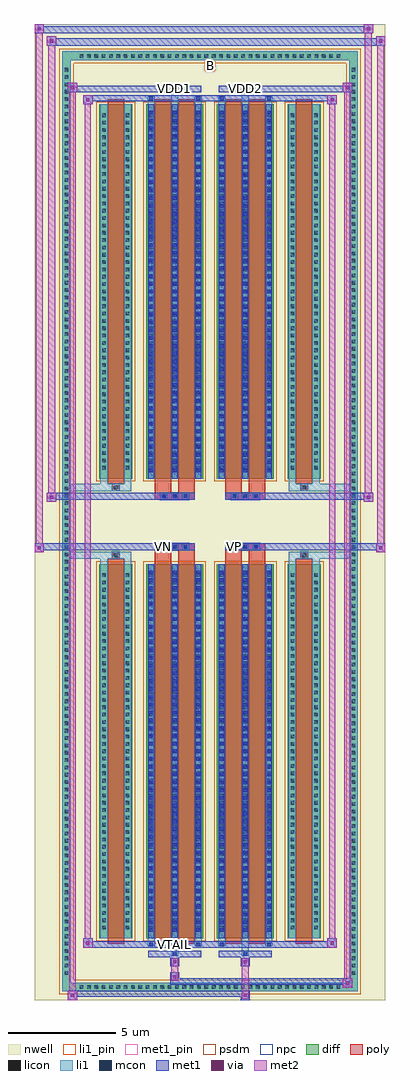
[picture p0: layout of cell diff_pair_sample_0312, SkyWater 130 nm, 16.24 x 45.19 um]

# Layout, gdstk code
import gdstk
lib = gdstk.Library(unit=1e-6, precision=5e-09)
def R(c, l, rs):  # rectangles x0, y0, x1, y1
    for r in rs: c.add(gdstk.rectangle(r[:2], r[2:], *l))
def A(c, l, x, y, w, h, nx, ny, dx, dy):  # array of equal rectangles
    R(c, l, [(x+i*dx, y+j*dy, x+i*dx+w, y+j*dy+h) for i in range(nx) for j in range(ny)])
def P(c, l, *ps):  # polygons
    for p in ps: c.add(gdstk.Polygon(p, *l))
nwell = (64, 20)
diff = (65, 20)
poly = (66, 20)
licon = (66, 44)
li1_pin = (67, 16)
li1 = (67, 20)
mcon = (67, 44)
met1_pin = (68, 16)
met1 = (68, 20)
via = (68, 44)
met2 = (69, 20)
psdm = (94, 20)
npc = (95, 20)

diff_pair_sample_0312 = lib.new_cell('diff_pair_sample_0312')
R(diff_pair_sample_0312, nwell, [(-8.12,-22.16,8.12,23.03), (-5.44,-20.35,-0.01,-0.805), (0.01,-20.35,5.44,-0.805), (-5.44,0.805,-0.01,20.35), (0.01,0.805,5.44,20.35)])
A(diff_pair_sample_0312, diff, -6.155, -21.76, 0.41, 0.41, 36, 2, 0.34, 43.11)
A(diff_pair_sample_0312, diff, -6.85, -21.115, 0.41, 0.41, 1, 124, 0, 0.34)
A(diff_pair_sample_0312, diff, 6.44, -21.115, 0.41, 0.41, 1, 124, 0, 0.34)
R(diff_pair_sample_0312, diff, [(-6.155,-21.76,6.155,-21.35), (-6.85,-21.115,-6.44,21.115), (6.44,-21.115,6.85,21.115), (-5.13,-19.305,-3.59,-1.985), (-2.95,-19.305,-0.32,-1.985), (0.32,-19.305,2.95,-1.985), (3.59,-19.305,5.13,-1.985), (-5.13,1.985,-3.59,19.305), (-2.95,1.985,-0.32,19.305), (0.32,1.985,2.95,19.305), (3.59,1.985,5.13,19.305), (-6.155,21.35,6.155,21.76)])
P(diff_pair_sample_0312, diff, [(6.85,21.76),(-6.85,21.76),(-6.85,-21.35),(-6.44,-21.35),(-6.44,21.35),(6.44,21.35),(6.44,-21.35),(-6.44,-21.35),(-6.85,-21.35),(-6.85,-21.76),(6.85,-21.76)])
A(diff_pair_sample_0312, poly, -2.3, -1.335, 0.33, 0.33, 3, 2, 0.5, 2.34)
A(diff_pair_sample_0312, poly, 0.97, -1.335, 0.33, 0.33, 3, 2, 0.5, 2.34)
R(diff_pair_sample_0312, poly, [(-4.74,-19.555,-3.98,-1.735), (-2.56,-19.555,-1.8,-1.735), (-1.47,-19.555,-0.71,-1.735), (0.71,-19.555,1.47,-1.735), (1.8,-19.555,2.56,-1.735), (3.98,-19.555,4.74,-1.735), (-4.525,-1.735,-4.195,-1.405), (-4.525,-1.735,-4.195,-1.405), (-2.56,-1.735,-1.8,-1.335), (-1.47,-1.735,-0.71,-1.335), (0.71,-1.735,1.47,-1.335), (1.8,-1.735,2.56,-1.335), (4.195,-1.735,4.525,-1.405), (4.195,-1.735,4.525,-1.405), (-2.56,-1.335,-0.71,-1.005), (0.71,-1.335,2.56,-1.005), (-2.56,1.005,-0.71,1.335), (0.71,1.005,2.56,1.335), (-2.56,1.335,-1.8,1.735), (-1.47,1.335,-0.71,1.735), (0.71,1.335,1.47,1.735), (1.8,1.335,2.56,1.735), (-4.525,1.405,-4.195,1.735), (-4.525,1.405,-4.195,1.735), (4.195,1.405,4.525,1.735), (4.195,1.405,4.525,1.735), (-4.74,1.735,-3.98,19.555), (-2.56,1.735,-1.8,19.555), (-1.47,1.735,-0.71,19.555), (0.71,1.735,1.47,19.555), (1.8,1.735,2.56,19.555), (3.98,1.735,4.74,19.555)])
A(diff_pair_sample_0312, licon, -6.035, -21.64, 0.17, 0.17, 36, 2, 0.34, 43.11)
A(diff_pair_sample_0312, licon, -6.73, -20.995, 0.17, 0.17, 1, 124, 0, 0.34)
A(diff_pair_sample_0312, licon, 6.56, -20.995, 0.17, 0.17, 1, 124, 0, 0.34)
A(diff_pair_sample_0312, licon, -4.99, -18.89, 0.17, 0.17, 10, 49, 1.09, 0.34)
A(diff_pair_sample_0312, licon, -2.22, -1.255, 0.17, 0.17, 3, 2, 0.5, 2.34)
A(diff_pair_sample_0312, licon, 1.05, -1.255, 0.17, 0.17, 3, 2, 0.5, 2.34)
A(diff_pair_sample_0312, licon, -4.99, 2.4, 0.17, 0.17, 10, 49, 1.09, 0.34)
R(diff_pair_sample_0312, licon, [(-4.445,-1.655,-4.275,-1.485), (4.275,-1.655,4.445,-1.485), (-4.445,1.485,-4.275,1.655), (4.275,1.485,4.445,1.655)])
R(diff_pair_sample_0312, li1_pin, [(-0.25,20.85,0.25,21.35)])
A(diff_pair_sample_0312, li1, -6.115, -21.72, 0.33, 0.33, 36, 2, 0.34, 43.11)
A(diff_pair_sample_0312, li1, -6.81, -21.075, 0.33, 0.33, 1, 124, 0, 0.34)
A(diff_pair_sample_0312, li1, 6.48, -21.075, 0.33, 0.33, 1, 124, 0, 0.34)
A(diff_pair_sample_0312, li1, -5.07, -19.305, 0.33, 17.32, 10, 2, 1.09, 21.29)
A(diff_pair_sample_0312, li1, -2.81, -19.01, 0.17, 0.17, 6, 47, 1.09, 0.36)
A(diff_pair_sample_0312, li1, -2.81, -19.01, 0.17, 16.73, 6, 2, 1.09, 21.29)
A(diff_pair_sample_0312, li1, -5.07, -18.97, 0.33, 0.33, 10, 49, 1.09, 0.34)
A(diff_pair_sample_0312, li1, -2.3, -1.335, 0.33, 0.33, 3, 2, 0.5, 2.34)
A(diff_pair_sample_0312, li1, 0.97, -1.335, 0.33, 0.33, 3, 2, 0.5, 2.34)
A(diff_pair_sample_0312, li1, -2.81, 2.28, 0.17, 0.17, 6, 47, 1.09, 0.36)
A(diff_pair_sample_0312, li1, -5.07, 2.32, 0.33, 0.33, 10, 49, 1.09, 0.34)
R(diff_pair_sample_0312, li1, [(-6.85,-21.76,-6.44,-21.35), (-6.85,-21.76,-6.44,-21.35), (-6.44,-21.76,6.44,-21.35), (6.44,-21.76,6.85,-21.35), (6.44,-21.76,6.85,-21.35), (-6.85,-21.35,-6.44,21.35), (6.44,-21.35,6.85,21.35), (-1.8,-20.11,-1.47,-19.305), (-1.72,-20.11,-1.55,-19.94), (1.47,-20.11,1.8,-19.305), (1.55,-20.11,1.72,-19.94), (-2.89,-19.68,-2.56,-19.305), (-2.81,-19.68,-2.64,-19.51), (-0.71,-19.68,-0.38,-19.305), (-0.63,-19.68,-0.46,-19.51), (0.38,-19.68,0.71,-19.305), (0.46,-19.68,0.63,-19.51), (2.56,-19.68,2.89,-19.305), (2.64,-19.68,2.81,-19.51), (-5.07,-1.985,-4.74,-1.405), (-3.98,-1.985,-3.65,-1.405), (3.65,-1.985,3.98,-1.405), (4.74,-1.985,5.07,-1.405), (-6.85,-1.735,-4.525,-1.405), (-5.07,-1.735,-4.525,-1.405), (-4.525,-1.735,-4.195,-1.405), (-4.195,-1.735,-3.65,-1.405), (3.65,-1.735,4.195,-1.405), (4.195,-1.735,4.525,-1.405), (4.195,-1.735,6.85,-1.405), (4.525,-1.735,5.07,-1.405), (-6.85,1.405,-4.525,1.735), (-5.07,1.405,-4.525,1.735), (-5.07,1.405,-4.74,1.985), (-4.525,1.405,-4.195,1.735), (-4.195,1.405,-3.65,1.735), (-3.98,1.405,-3.65,1.985), (3.65,1.405,4.195,1.735), (3.65,1.405,3.98,1.985), (4.195,1.405,4.525,1.735), (4.195,1.405,6.85,1.735), (4.525,1.405,5.07,1.735), (4.74,1.405,5.07,1.985), (-2.89,19.305,-2.56,19.68), (-1.8,19.305,-1.47,20.11), (-0.71,19.305,-0.38,19.68), (0.38,19.305,0.71,19.68), (1.47,19.305,1.8,20.11), (2.56,19.305,2.89,19.68), (-2.81,19.51,-2.64,19.68), (-0.63,19.51,-0.46,19.68), (0.46,19.51,0.63,19.68), (2.64,19.51,2.81,19.68), (-1.72,19.94,-1.55,20.11), (1.55,19.94,1.72,20.11), (-6.85,21.35,-6.44,21.76), (-6.85,21.35,-6.44,21.76), (-6.44,21.35,6.44,21.76), (6.44,21.35,6.85,21.76), (6.44,21.35,6.85,21.76)])
A(diff_pair_sample_0312, mcon, -2.81, -19.01, 0.17, 0.17, 6, 47, 1.09, 0.36)
A(diff_pair_sample_0312, mcon, -2.22, -1.255, 0.17, 0.17, 3, 2, 0.5, 2.34)
A(diff_pair_sample_0312, mcon, 1.05, -1.255, 0.17, 0.17, 3, 2, 0.5, 2.34)
A(diff_pair_sample_0312, mcon, -2.81, 2.28, 0.17, 0.17, 6, 47, 1.09, 0.36)
R(diff_pair_sample_0312, mcon, [(-1.72,-20.11,-1.55,-19.94), (1.55,-20.11,1.72,-19.94), (-2.81,-19.68,-2.64,-19.51), (-0.63,-19.68,-0.46,-19.51), (0.46,-19.68,0.63,-19.51), (2.64,-19.68,2.81,-19.51), (-2.81,19.51,-2.64,19.68), (-0.63,19.51,-0.46,19.68), (0.46,19.51,0.63,19.68), (2.64,19.51,2.81,19.68), (-1.72,19.94,-1.55,20.11), (1.55,19.94,1.72,20.11)])
R(diff_pair_sample_0312, met1_pin, [(-1.77,-19.72,-1.5,-19.45), (-2.27,-1.295,-2,-1.025), (1,-1.295,1.27,-1.025), (-1.77,19.9,-1.5,20.17), (1.5,19.9,1.77,20.17)])
A(diff_pair_sample_0312, met1, -2.87, -19.305, 0.29, 17.32, 6, 2, 1.09, 21.29)
A(diff_pair_sample_0312, met1, -2.87, -19.07, 0.29, 0.29, 6, 47, 1.09, 0.36)
A(diff_pair_sample_0312, met1, -2.28, -1.315, 0.29, 0.29, 3, 2, 0.5, 2.34)
A(diff_pair_sample_0312, met1, 0.99, -1.315, 0.29, 0.29, 3, 2, 0.5, 2.34)
A(diff_pair_sample_0312, met1, -2.87, 2.22, 0.29, 0.29, 6, 47, 1.09, 0.36)
R(diff_pair_sample_0312, met1, [(-6.58,-22.16,-6.15,-21.73), (1.42,-22.16,1.85,-21.73), (-6.58,-22.02,1.85,-21.73), (6.15,-21.59,6.58,-21.16), (-1.85,-21.45,6.58,-21.16), (-1.85,-21.31,-1.42,-20.88), (-1.85,-20.6,-1.42,-20.17), (1.42,-20.6,1.85,-20.17), (-2.87,-20.17,-0.4,-19.88), (-1.78,-20.17,-1.49,-19.88), (0.4,-20.17,2.87,-19.88), (1.49,-20.17,1.78,-19.88), (-5.87,-19.74,-5.44,-19.31), (-5.87,-19.74,-2.87,-19.45), (-2.87,-19.74,-2.58,-19.45), (-2.87,-19.74,-0.4,-19.45), (-0.69,-19.74,-0.4,-19.45), (-0.4,-19.74,0.4,-19.45), (0.4,-19.74,0.69,-19.45), (0.4,-19.74,2.87,-19.45), (2.58,-19.74,2.87,-19.45), (2.87,-19.74,5.87,-19.45), (5.44,-19.74,5.87,-19.31), (-8.12,-1.435,-7.69,-1.005), (7.69,-1.435,8.12,-1.005), (-8.12,-1.335,-0.71,-1.005), (-2.56,-1.335,-0.71,-1.005), (0.71,-1.335,2.56,-1.005), (0.71,-1.335,8.12,-1.005), (-7.55,0.905,-7.12,1.335), (7.12,0.905,7.55,1.335), (-7.55,1.005,-2.56,1.335), (-2.56,1.005,-0.71,1.335), (0.71,1.005,2.56,1.335), (2.56,1.005,7.55,1.335), (-5.87,19.31,-5.44,19.74), (5.44,19.31,5.87,19.74), (-5.87,19.45,-2.87,19.74), (-2.87,19.45,-2.58,19.74), (-2.87,19.45,-0.4,19.74), (-0.69,19.45,-0.4,19.74), (-0.4,19.45,0.4,19.74), (0.4,19.45,0.69,19.74), (0.4,19.45,2.87,19.74), (2.58,19.45,2.87,19.74), (2.87,19.45,5.87,19.74), (-6.58,19.88,-6.15,20.31), (-6.58,19.88,-2.87,20.17), (-2.87,19.88,-0.4,20.17), (-1.78,19.88,-1.49,20.17), (0.4,19.88,2.87,20.17), (1.49,19.88,1.78,20.17), (2.87,19.88,6.58,20.17), (6.15,19.88,6.58,20.31), (-7.55,22.03,-7.12,22.46), (-7.55,22.03,-5.44,22.36), (-5.44,22.03,5.44,22.36), (5.44,22.03,8.12,22.36), (7.69,22.03,8.12,22.46), (-8.12,22.6,-7.69,23.03), (-8.12,22.6,-5.44,22.93), (-5.44,22.6,5.44,22.93), (5.44,22.6,7.55,22.93), (7.12,22.6,7.55,23.03)])
R(diff_pair_sample_0312, via, [(-6.44,-22.02,-6.29,-21.87), (1.56,-22.02,1.71,-21.87), (6.29,-21.45,6.44,-21.3), (-1.71,-21.17,-1.56,-21.02), (-1.71,-20.46,-1.56,-20.31), (1.56,-20.46,1.71,-20.31), (-5.73,-19.6,-5.58,-19.45), (5.58,-19.6,5.73,-19.45), (-7.98,-1.295,-7.83,-1.145), (7.83,-1.295,7.98,-1.145), (-7.41,1.045,-7.26,1.195), (7.26,1.045,7.41,1.195), (-5.73,19.45,-5.58,19.6), (5.58,19.45,5.73,19.6), (-6.44,20.02,-6.29,20.17), (6.29,20.02,6.44,20.17), (-7.41,22.17,-7.26,22.32), (7.83,22.17,7.98,22.32), (-7.98,22.74,-7.83,22.89), (7.26,22.74,7.41,22.89)])
R(diff_pair_sample_0312, met2, [(-6.58,-22.16,-6.15,-21.73), (-6.51,-22.16,-6.22,20.31), (-6.22,-22.16,-6.15,-21.73), (-6.53,-22.11,-6.2,-21.78), (1.47,-22.11,1.8,-21.78), (1.47,-21.78,1.8,-20.55), (6.15,-21.59,6.58,-21.16), (6.22,-21.59,6.51,20.31), (6.51,-21.59,6.58,-21.16), (6.2,-21.54,6.53,-21.21), (-1.8,-21.26,-1.47,-20.93), (-1.8,-20.93,-1.47,-20.55), (-1.8,-20.55,-1.47,-20.22), (1.47,-20.55,1.8,-20.22), (-5.87,-19.74,-5.44,-19.31), (-5.8,-19.74,-5.51,19.74), (-5.51,-19.74,-5.44,-19.31), (5.44,-19.74,5.87,-19.31), (5.51,-19.74,5.8,19.74), (5.8,-19.74,5.87,-19.31), (-5.82,-19.69,-5.49,-19.36), (5.49,-19.69,5.82,-19.36), (-8.12,-1.435,-7.69,-1.005), (-8.07,-1.435,-7.74,23.03), (-7.74,-1.435,-7.69,-1.005), (7.69,-1.435,8.12,-1.005), (7.74,-1.435,8.07,22.46), (8.07,-1.435,8.12,-1.005), (-8.07,-1.385,-7.74,-1.055), (7.74,-1.385,8.07,-1.055), (-7.55,0.905,-7.12,1.335), (-7.5,0.905,-7.17,22.46), (-7.17,0.905,-7.12,1.335), (7.12,0.905,7.55,1.335), (7.17,0.905,7.5,23.03), (7.5,0.905,7.55,1.335), (-7.5,0.955,-7.17,1.285), (7.17,0.955,7.5,1.285), (-5.87,19.31,-5.44,19.74), (-5.51,19.31,-5.44,19.74), (5.44,19.31,5.87,19.74), (5.8,19.31,5.87,19.74), (-5.82,19.36,-5.49,19.69), (5.49,19.36,5.82,19.69), (-6.58,19.88,-6.15,20.31), (-6.22,19.88,-6.15,20.31), (6.15,19.88,6.58,20.31), (6.51,19.88,6.58,20.31), (-6.53,19.93,-6.2,20.26), (6.2,19.93,6.53,20.26), (-7.55,22.03,-7.12,22.46), (-7.17,22.03,-7.12,22.46), (7.69,22.03,8.12,22.46), (8.07,22.03,8.12,22.46), (-7.5,22.08,-7.17,22.41), (7.74,22.08,8.07,22.41), (-8.12,22.6,-7.69,23.03), (-7.74,22.6,-7.69,23.03), (7.12,22.6,7.55,23.03), (7.5,22.6,7.55,23.03), (-8.07,22.65,-7.74,22.98), (7.17,22.65,7.5,22.98)])
R(diff_pair_sample_0312, psdm, [(-5.26,-19.435,-3.46,-1.855), (-3.08,-19.435,-0.19,-1.855), (0.19,-19.435,3.08,-1.855), (3.46,-19.435,5.26,-1.855), (-5.26,1.855,-3.46,19.435), (-3.08,1.855,-0.19,19.435), (0.19,1.855,3.08,19.435), (3.46,1.855,5.26,19.435)])
P(diff_pair_sample_0312, psdm, [(6.98,21.89),(-6.98,21.89),(-6.98,-21.22),(-6.31,-21.22),(-6.31,21.22),(6.31,21.22),(6.31,-21.22),(-6.31,-21.22),(-6.98,-21.22),(-6.98,-21.89),(6.98,-21.89)])
A(diff_pair_sample_0312, npc, -2.32, -1.355, 0.37, 0.37, 3, 2, 0.5, 2.34)
A(diff_pair_sample_0312, npc, 0.95, -1.355, 0.37, 0.37, 3, 2, 0.5, 2.34)
R(diff_pair_sample_0312, npc, [(-4.545,-1.755,-4.175,-1.385), (4.175,-1.755,4.545,-1.385), (-2.32,-1.355,-1.45,-0.985), (-2.32,-1.355,-1.45,-0.985), (-1.82,-1.355,-0.95,-0.985), (-1.82,-1.355,-0.95,-0.985), (0.95,-1.355,1.82,-0.985), (0.95,-1.355,1.82,-0.985), (1.45,-1.355,2.32,-0.985), (1.45,-1.355,2.32,-0.985), (-2.32,0.985,-1.45,1.355), (-2.32,0.985,-1.45,1.355), (-1.82,0.985,-0.95,1.355), (-1.82,0.985,-0.95,1.355), (0.95,0.985,1.82,1.355), (0.95,0.985,1.82,1.355), (1.45,0.985,2.32,1.355), (1.45,0.985,2.32,1.355), (-4.545,1.385,-4.175,1.755), (4.175,1.385,4.545,1.755)])
diff_pair_sample_0312.add(gdstk.Label('VTAIL', (-1.635,-19.585), layer=68, texttype=5))
diff_pair_sample_0312.add(gdstk.Label('VN', (-2.135,-1.16), layer=68, texttype=5))
diff_pair_sample_0312.add(gdstk.Label('VP', (1.135,-1.16), layer=68, texttype=5))
diff_pair_sample_0312.add(gdstk.Label('B', (0,21.1), layer=67, texttype=5))
diff_pair_sample_0312.add(gdstk.Label('VDD2', (1.635,20.035), layer=68, texttype=5))
diff_pair_sample_0312.add(gdstk.Label('VDD1', (-1.635,20.035), layer=68, texttype=5))

lib.write_gds('diff_pair_sample_0312.gds')
